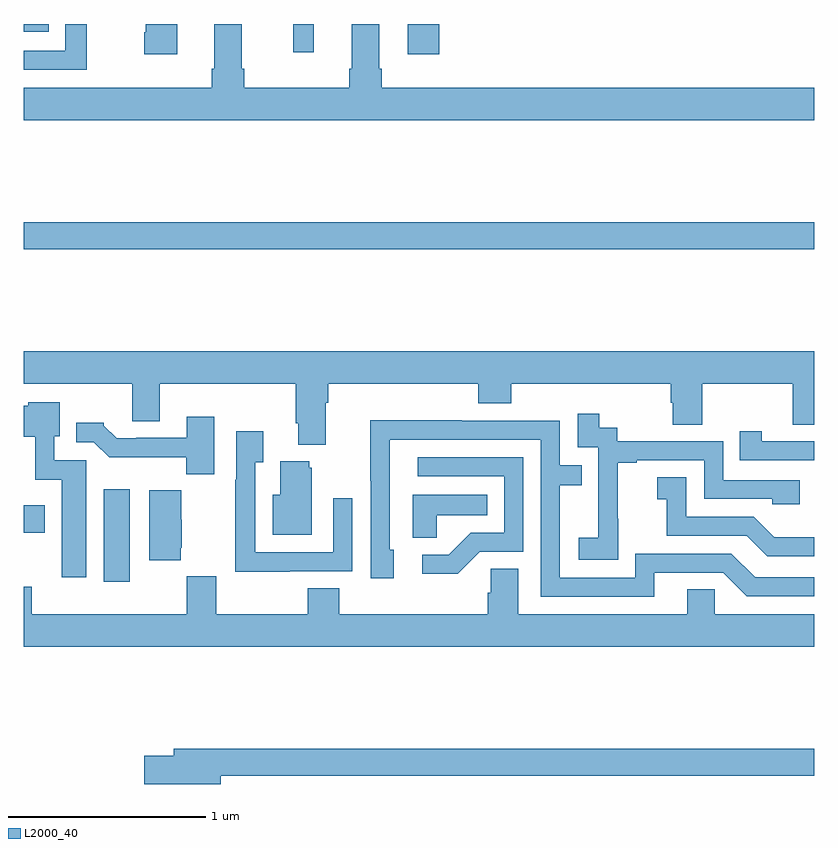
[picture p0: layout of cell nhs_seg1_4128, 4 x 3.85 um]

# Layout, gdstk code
import gdstk
lib = gdstk.Library(unit=1e-6, precision=1e-09)
def R(c, l, rs):  # rectangles x0, y0, x1, y1
    for r in rs: c.add(gdstk.rectangle(r[:2], r[2:], *l))
def P(c, l, *ps):  # polygons
    for p in ps: c.add(gdstk.Polygon(p, *l))
L2000_40 = (2000, 40)

nhs_seg1_4128 = lib.new_cell('nhs_seg1_4128')
R(nhs_seg1_4128, L2000_40, [(335.405,569.376,335.536,569.845), (335,569.624,335.107,569.764), (335,571.06,339,571.196), (336.944,572.046,337.103,572.199), (336.364,572.055,336.467,572.199), (335,572.16,335.126,572.199)])
P(nhs_seg1_4128, L2000_40, [(339,571.876),(336.812,571.876),(336.812,571.972),(336.799,571.972),(336.799,572.197),(336.659,572.197),(336.659,571.972),(336.647,571.972),(336.647,571.876),(336.116,571.876),(336.116,571.972),(336.103,571.972),(336.103,572.199),(335.963,572.199),(335.963,571.972),(335.951,571.972),(335.951,571.876),(335,571.876),(335,571.712),(339,571.712)],
  [(335.776,572.199),(335.618,572.199),(335.618,572.158),(335.611,572.158),(335.611,572.046),(335.776,572.046)],
  [(335.32,572.199),(335.211,572.199),(335.211,572.064),(335,572.064),(335,571.968),(335.32,571.968)],
  [(336.529,570.284),(336.542,570.284),(336.542,570.38),(337.301,570.38),(337.301,570.281),(337.466,570.281),(337.466,570.38),(338.273,570.38),(338.273,570.282),(338.285,570.282),(338.285,570.172),(338.433,570.172),(338.433,570.38),(338.89,570.38),(338.89,570.172),(339,570.172),(339,570.544),(335,570.544),(335,570.38),(335.549,570.38),(335.549,570.19),(335.689,570.19),(335.689,570.38),(336.377,570.38),(336.377,570.178),(336.389,570.178),(336.389,570.071),(336.529,570.071)],
  [(335.317,569.991),(335.154,569.991),(335.154,570.114),(335.182,570.114),(335.182,570.286),(335.022,570.286),(335.022,570.268),(335,570.268),(335,570.11),(335.058,570.11),(335.058,569.894),(335.192,569.894),(335.192,569.4),(335.317,569.4)],
  [(338.007,569.695),(338.006,569.695),(338.006,569.979),(338.101,569.979),(338.101,569.991),(338.442,569.991),(338.442,569.796),(338.787,569.796),(338.787,569.769),(338.927,569.769),(338.927,569.892),(338.538,569.892),(338.538,570.087),(338.004,570.087),(338.004,570.156),(337.912,570.156),(337.912,570.226),(337.803,570.226),(337.803,570.057),(337.908,570.057),(337.908,569.828),(337.907,569.828),(337.907,569.599),(337.809,569.599),(337.809,569.489),(338.007,569.489)],
  [(335.965,570.211),(335.825,570.211),(335.825,570.105),(335.569,570.105),(335.569,570.102),(335.47,570.102),(335.406,570.166),(335.406,570.181),(335.267,570.181),(335.267,570.084),(335.355,570.084),(335.434,570.006),(335.823,570.006),(335.823,569.921),(335.965,569.921)],
  [(338.191,569.424),(338.538,569.424),(338.658,569.304),(339,569.304),(339,569.4),(338.7,569.4),(338.58,569.52),(338.094,569.52),(338.094,569.397),(337.713,569.397),(337.713,569.866),(337.823,569.866),(337.823,569.967),(337.713,569.967),(337.713,570.192),(337.217,570.192),(337.217,570.194),(336.754,570.194),(336.754,569.887),(336.756,569.887),(336.756,569.394),(336.871,569.394),(336.871,569.538),(336.852,569.538),(336.852,570.096),(337.617,570.096),(337.617,569.301),(338.191,569.301)],
  [(339,570.087),(338.734,570.087),(338.734,570.139),(338.623,570.139),(338.623,569.991),(339,569.991)],
  [(336.347,569.43),(336.663,569.43),(336.663,569.8),(336.567,569.8),(336.567,569.526),(336.171,569.526),(336.171,569.983),(336.211,569.983),(336.211,570.139),(336.075,570.139),(336.075,569.894),(336.07,569.894),(336.07,569.429),(336.347,569.429)],
  [(337.308,569.529),(337.527,569.529),(337.527,570.006),(336.993,570.006),(336.993,569.91),(337.431,569.91),(337.431,569.625),(337.262,569.625),(337.151,569.514),(337.017,569.514),(337.017,569.417),(337.195,569.417)],
  [(336.457,569.955),(336.446,569.955),(336.446,569.986),(336.299,569.986),(336.299,569.818),(336.26,569.818),(336.26,569.615),(336.457,569.615)],
  [(339,569.602),(338.798,569.602),(338.694,569.706),(338.352,569.706),(338.352,569.905),(338.205,569.905),(338.205,569.795),(338.254,569.795),(338.254,569.61),(338.657,569.61),(338.762,569.505),(339,569.505)],
  [(335.794,569.55),(335.8,569.55),(335.8,569.691),(335.798,569.691),(335.798,569.839),(335.636,569.839),(335.636,569.485),(335.794,569.485)],
  [(337.089,569.714),(337.346,569.714),(337.346,569.818),(336.968,569.818),(336.968,569.599),(337.089,569.599)],
  [(336.436,569.345),(336.436,569.212),(335.973,569.212),(335.973,569.405),(335.825,569.405),(335.825,569.212),(335.042,569.212),(335.042,569.353),(335,569.353),(335,569.048),(339,569.048),(339,569.212),(338.496,569.212),(338.496,569.339),(338.357,569.339),(338.357,569.212),(337.501,569.212),(337.501,569.444),(337.362,569.444),(337.362,569.321),(337.349,569.321),(337.349,569.212),(336.596,569.212),(336.596,569.345)],
  [(335.998,568.396),(339,568.396),(339,568.532),(335.759,568.532),(335.759,568.496),(335.61,568.496),(335.61,568.354),(335.998,568.354)])

lib.write_gds('nhs_seg1_4128.gds')
